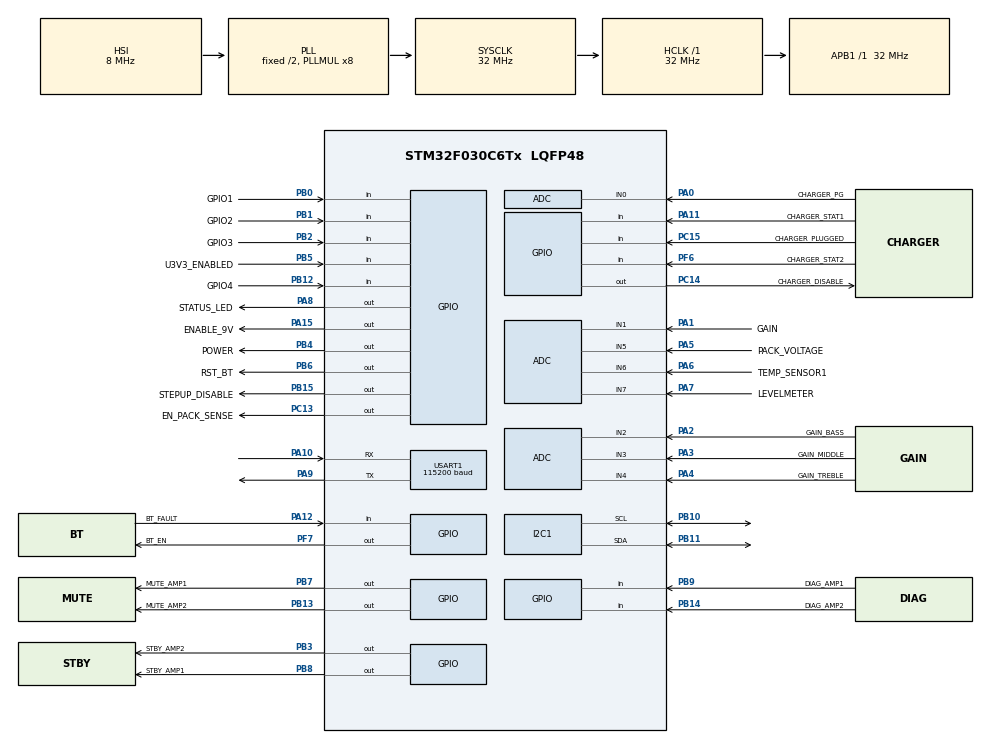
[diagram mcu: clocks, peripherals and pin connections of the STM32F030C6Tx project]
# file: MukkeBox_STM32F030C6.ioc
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ADC.ExternalTrigConv=ADC_EXTERNALTRIGCONV_T1_TRGO
ADC.SamplingTime=ADC_SAMPLETIME_71CYCLES_5
Dma.ADC.0.Direction=DMA_PERIPH_TO_MEMORY
Dma.ADC.0.Instance=DMA1_Channel1
Dma.ADC.0.MemDataAlignment=DMA_MDATAALIGN_HALFWORD
Dma.ADC.0.MemInc=DMA_MINC_ENABLE
Dma.ADC.0.Mode=DMA_NORMAL
Dma.ADC.0.PeriphDataAlignment=DMA_PDATAALIGN_HALFWORD
Dma.ADC.0.PeriphInc=DMA_PINC_DISABLE
Dma.ADC.0.Priority=DMA_PRIORITY_LOW
Dma.Request0=ADC
I2C1.Speed=40
I2C1.Timing=0x00103D84
Mcu.Family=STM32F0
Mcu.Name=STM32F030C6Tx
Mcu.Package=LQFP48
NVIC.DMA1_Channel1_IRQn=true\:0\:0\:false\:false\:true\:false\:true
PA0.GPIO_Label=CHARGER_PG
PA0.Mode=IN0
PA0.Signal=ADC_IN0
PA1.GPIO_Label=GAIN
PA1.Mode=IN1
PA1.Signal=ADC_IN1
PA10.Mode=Asynchronous
PA10.Signal=USART1_RX
PA11.GPIO_Label=CHARGER_STAT1
PA11.Signal=GPIO_Input
PA12.GPIO_Label=BT_FAULT
PA12.Signal=GPIO_Input
PA13.Mode=Serial_Wire
PA13.Signal=SYS_SWDIO
PA14.Mode=Serial_Wire
PA14.Signal=SYS_SWCLK
PA15.GPIO_Label=ENABLE_9V
PA15.Signal=GPIO_Output
PA2.GPIO_Label=GAIN_BASS
PA2.Mode=IN2
PA2.Signal=ADC_IN2
PA3.GPIO_Label=GAIN_MIDDLE
PA3.Mode=IN3
PA3.Signal=ADC_IN3
PA4.GPIO_Label=GAIN_TREBLE
PA4.Mode=IN4
PA4.Signal=ADC_IN4
PA5.GPIO_Label=PACK_VOLTAGE
PA5.Mode=IN5
PA5.Signal=ADC_IN5
PA6.GPIO_Label=TEMP_SENSOR1
PA6.Mode=IN6
PA6.Signal=ADC_IN6
PA7.GPIO_Label=LEVELMETER
PA7.Mode=IN7
PA7.Signal=ADC_IN7
PA8.GPIO_Label=STATUS_LED
PA8.Signal=GPIO_Output
PA9.Mode=Asynchronous
PA9.Signal=USART1_TX
PB0.GPIO_Label=GPIO1
PB0.Signal=GPIO_Input
PB1.GPIO_Label=GPIO2
PB1.Signal=GPIO_Input
PB10.Mode=I2C
PB10.Signal=I2C1_SCL
PB11.Mode=I2C
PB11.Signal=I2C1_SDA
PB12.GPIO_Label=GPIO4
PB12.Signal=GPIO_Input
PB13.GPIO_Label=MUTE_AMP2
PB13.Signal=GPIO_Output
PB14.GPIO_Label=DIAG_AMP2
PB14.Signal=GPIO_Input
PB15.GPIO_Label=STEPUP_DISABLE
PB15.Signal=GPIO_Output
PB2.GPIO_Label=GPIO3
PB2.Signal=GPIO_Input
PB3.GPIO_Label=STBY_AMP2
PB3.Signal=GPIO_Output
PB4.GPIO_Label=POWER
PB4.Signal=GPIO_Output
PB5.GPIO_Label=U3V3_ENABLED
PB5.Signal=GPIO_Input
PB6.GPIO_Label=RST_BT
PB6.Signal=GPIO_Output
PB7.GPIO_Label=MUTE_AMP1
PB7.Signal=GPIO_Output
PB8.GPIO_Label=STBY_AMP1
PB8.Signal=GPIO_Output
PB9.GPIO_Label=DIAG_AMP1
PB9.Signal=GPIO_Input
PC13.GPIO_Label=EN_PACK_SENSE
PC13.Signal=GPIO_Output
PC14-OSC32_IN.GPIO_Label=CHARGER_DISABLE
PC14-OSC32_IN.Signal=GPIO_Output
PC15-OSC32_OUT.GPIO_Label=CHARGER_PLUGGED
PC15-OSC32_OUT.Signal=GPIO_Input
PF0-OSC_IN.Mode=HSE-External-Oscillator
PF0-OSC_IN.Signal=RCC_OSC_IN
PF1-OSC_OUT.Mode=HSE-External-Oscillator
PF1-OSC_OUT.Signal=RCC_OSC_OUT
PF6.GPIO_Label=CHARGER_STAT2
PF6.Signal=GPIO_Input
PF7.GPIO_Label=BT_EN
PF7.Signal=GPIO_Output
ProjectManager.HeapSize=0x200
ProjectManager.StackSize=0x400
ProjectManager.TargetToolchain=STM32CubeIDE
RCC.AHBFreq_Value=32000000
RCC.APB1Freq_Value=32000000
RCC.APB1TimFreq_Value=32000000
RCC.HCLKFreq_Value=32000000
RCC.PLLMUL=RCC_PLL_MUL8
RCC.SYSCLKFreq_VALUE=32000000
RCC.SYSCLKSource=RCC_SYSCLKSOURCE_PLLCLK
RCC.Usart1ClockSelection=RCC_USART1CLKSOURCE_SYSCLK
TIM1.Period=100
TIM1.Prescaler=8000
TIM1.TIM_MasterOutputTrigger=TIM_TRGO_UPDATE
TIM1.TIM_MasterSlaveMode=TIM_MASTERSLAVEMODE_ENABLE
TIM3.AutoReloadPreload=TIM_AUTORELOAD_PRELOAD_ENABLE
TIM3.Period=999
TIM3.Prescaler=7999
TIM3.TIM_MasterOutputTrigger=TIM_TRGO_UPDATE
TIM3.TIM_MasterSlaveMode=TIM_MASTERSLAVEMODE_ENABLE
USART1.BaudRate=115200
USART1.VirtualMode-Asynchronous=VM_ASYNC
VP_TIM1_VS_ClockSourceINT.Mode=Internal
VP_TIM3_VS_ClockSourceINT.Mode=Internal
board=custom

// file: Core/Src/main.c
/* USER CODE BEGIN Header */
/**
  ******************************************************************************
  * @file           : main.c
  * @brief          : Main program body
  ******************************************************************************
  * @attention
  *
  * <h2><center>&copy; Copyright (c) 2020 STMicroelectronics.
  * All rights reserved.</center></h2>
  *
  * This software component is licensed by ST under BSD 3-Clause license,
  * the "License"; You may not use this file except in compliance with the
  * License. You may obtain a copy of the License at:
  *                        opensource.org/licenses/BSD-3-Clause
  *
  ******************************************************************************
  */
/* USER CODE END Header */

#include "main.h"

/* USER CODE BEGIN Includes */
#include "TDA7719.h"
#include "ssd1306.h"
//#include "string.h"
/* USER CODE END Includes */

/* USER CODE BEGIN PD */
#define DISPLAY 1
#define ADC_BUF_SIZE 6
/* USER CODE END PD */

ADC_HandleTypeDef hadc;
DMA_HandleTypeDef hdma_adc;

I2C_HandleTypeDef hi2c1;

TIM_HandleTypeDef htim1;
TIM_HandleTypeDef htim3;

UART_HandleTypeDef huart1;

/* USER CODE BEGIN PV */
static const uint8_t OLED_ADDR = 0x3C;	// SSD1306
static const uint8_t AUDIO_DSP = 0x44;	// TDA7719

uint16_t ADC_buffer[ADC_BUF_SIZE];
uint8_t adc_flag = 0;

uint8_t timer_flag = 0;

/* USER CODE END PV */

void SystemClock_Config(void);
static void MX_GPIO_Init(void);
static void MX_DMA_Init(void);
static void MX_ADC_Init(void);
static void MX_I2C1_Init(void);
static void MX_USART1_UART_Init(void);
static void MX_TIM1_Init(void);
static void MX_TIM3_Init(void);

/* USER CODE BEGIN 0 */

GPIO_PinState state_3v3 = GPIO_PIN_SET;
GPIO_PinState charger_plugged = GPIO_PIN_SET;
const int GAIN = 4;
const int BASS = 3;
const int MIDDLE = 2;
const int TREBLE = 1;
const int PACK = 5;
const int GAIN_STEPS = 4096/30;
const int GAIN_HYST = 30;
// Faktor aus Debug Wert, und Messung mit Multimeter bestimmt; Stimmt auf 10mV mit Fluke Multimeter überein
const double PACK_FAKTOR = 14.86 / 1698.0;
const double PACK_LOW = 14.0;
const double PACK_FULL = 16.6;
const double PACK_HYST = 0.1;
static int pack_sense = 0;
static int pack_val = 0;
static double pack_voltage_buf[5] = {0,0,0,0,0};
static int buf_index = 0;
static double pack_voltage = 0.0;
static int pack_low = 1;
static int pack_full = 0;
static int power_rise = 0;
static int dsp_delay = 0;
static int FAIL = 0;

static int old_gain=0, old_bass = 0, old_middle=0, old_treble=0;
static int gain = 0, bass = 0, middle = 0, treble = 0;

static int splash_sceen = 0;

static int write_bat = 0;

void write_screen(int bass, int middle, int treble, double battery){

#if DISPLAY == 1
	char s[7];
	int vorkomma = 0, nachkomma = 0;
	ssd1306_Fill(Black);
	ssd1306_SetCursor(0, 0);
	ssd1306_WriteString("GurkiBox   V03", Font_6x8, White);
	//bass
	if(state_3v3 == GPIO_PIN_RESET){
		ssd1306_SetCursor(0, 10);
		ssd1306_WriteString("Bass:", Font_6x8, White);
		ssd1306_SetCursor(64, 10);
		itoa((int16_t)(bass-15), s, 10);
		if(bass>15)ssd1306_WriteString("+", Font_6x8, White);
		ssd1306_WriteString(s, Font_6x8, White);
		ssd1306_WriteString("bB", Font_6x8, White);
		//Middle
		ssd1306_SetCursor(0, 20);
		ssd1306_WriteString("Middle:", Font_6x8, White);
		ssd1306_SetCursor(64, 20);
		itoa((int16_t)(middle-15), s, 10);
		if(middle>15)ssd1306_WriteString("+", Font_6x8, White);
		ssd1306_WriteString(s, Font_6x8, White);
		ssd1306_WriteString("bB", Font_6x8, White);
		// Treble
		ssd1306_SetCursor(0, 30);
		ssd1306_WriteString("Treble:", Font_6x8, White);
		ssd1306_SetCursor(64, 30);
		itoa((int16_t)(treble-15), s, 10);
		if(treble>15)ssd1306_WriteString("+", Font_6x8, White);
		ssd1306_WriteString(s, Font_6x8, White);
		ssd1306_WriteString("bB", Font_6x8, White);
	}
	// Battery
	vorkomma=(int)battery;
	nachkomma = (int)((battery-((double)vorkomma))*100);
	ssd1306_SetCursor(0, 40);
	ssd1306_WriteString("Akku:", Font_6x8, White);
	ssd1306_SetCursor(64, 40);
	itoa((int16_t)vorkomma, s, 10);
	ssd1306_WriteString(s, Font_6x8, White);
	ssd1306_WriteString(".", Font_6x8, White);
	itoa((int16_t)nachkomma, s, 10);
	ssd1306_WriteString(s, Font_6x8, White);
	ssd1306_WriteString("V", Font_6x8, White);

	if(charger_plugged == GPIO_PIN_RESET){
		uint8_t x = 110, y = 0;
		//Linker Ramen Akku
		ssd1306_Line(x,y,x,y+6, White);
		ssd1306_Line(x,y,x+3,y, White);
		ssd1306_Line(x,y+6,x+3,y+6, White);

		//Rechter Ramen Akku
		ssd1306_Line(x+9,y,x+11,y, White);
		ssd1306_Line(x+9,y+6,x+11,y+6, White);
		ssd1306_Line(x+11,y,x+11,y+6, White);
		ssd1306_Line(x+12,y+2,x+12,y+4, White);
		//Strom Symbol
		if(pack_full == 0){
			ssd1306_Line(x+6,y,x+4,y+2, White);
			ssd1306_Line(x+7,y+4,x+5,y+6, White);
			ssd1306_Line(x+4,y+3,x+7,y+3, White);
			ssd1306_DrawPixel(x+5,y+2,White);
			ssd1306_DrawPixel(x+6,y+4,White);
		}
		else{
			ssd1306_Line(x+2,y,x+9,y, White);
			ssd1306_Line(x+2,y+1,x+9,y+1, White);
			ssd1306_Line(x+2,y+2,x+9,y+2, White);
			ssd1306_Line(x+2,y+3,x+9,y+3, White);
			ssd1306_Line(x+2,y+4,x+9,y+4, White);
			ssd1306_Line(x+2,y+5,x+9,y+5, White);
			ssd1306_Line(x+2,y+6,x+9,y+6, White);
		}
	}

	ssd1306_UpdateScreen();
#endif
}

/* USER CODE END 0 */

int main(void)
{

  /* MCU Configuration--------------------------------------------------------*/

  /* Reset of all peripherals, Initializes the Flash interface and the Systick. */
  HAL_Init();

  /* Configure the system clock */
  SystemClock_Config();

  /* Initialize all configured peripherals */
  MX_GPIO_Init();
  MX_DMA_Init();
  MX_ADC_Init();
  MX_I2C1_Init();
  MX_USART1_UART_Init();
  MX_TIM1_Init();
  MX_TIM3_Init();
  /* USER CODE BEGIN 2 */
  if(HAL_OK != HAL_ADCEx_Calibration_Start(&hadc))
	  Error_Handler();

  if(HAL_ADC_Start_DMA(&hadc, &ADC_buffer, ADC_BUF_SIZE) != HAL_OK)
	  Error_Handler();

  if(HAL_OK != HAL_TIM_Base_Start(&htim1))
	  Error_Handler();
  if(HAL_OK != HAL_TIM_Base_Start(&htim3))
	  Error_Handler();

  /* USER CODE END 2 */

  /* Infinite loop */
  /* USER CODE BEGIN WHILE */

  // Endstufe initial deaktiviert
  HAL_GPIO_WritePin(MUTE_AMP1_GPIO_Port,MUTE_AMP1_Pin, GPIO_PIN_SET);
  HAL_GPIO_WritePin(STBY_AMP1_GPIO_Port,STBY_AMP1_Pin, GPIO_PIN_RESET);
  HAL_GPIO_WritePin(MUTE_AMP2_GPIO_Port,MUTE_AMP2_Pin, GPIO_PIN_SET);
  HAL_GPIO_WritePin(STBY_AMP2_GPIO_Port,STBY_AMP2_Pin, GPIO_PIN_RESET);
  //HAL_GPIO_WritePin(STEPUP_DISABLE_GPIO_Port, STEPUP_DISABLE_Pin, GPIO_PIN_SET);

  GPIO_PinState state;
  uint8_t test = 0;
  uint8_t adresses[5] = {0,0,0,0,0};

// I2C Scan
	HAL_StatusTypeDef result;
	int i = 0;
	for (i=1; i<128; i++)
	{

	   //the HAL wants a left aligned i2c address
	   //&hi2c1 is the handle
	   //(uint16_t)(i<<1) is the i2c address left aligned
	   //retries 2
	   //timeout 2

	  result = HAL_I2C_IsDeviceReady(&hi2c1, (uint16_t)(i<<1), 2, 2);
	  if (result != HAL_OK) // HAL_ERROR or HAL_BUSY or HAL_TIMEOUT
	  {
		  ;
	  }
	  if (result == HAL_OK)
	  {
		  adresses[test]= i;
		  test++;
	  }
	}

#if DISPLAY == 1
  	  ssd1306_Init();
  	  ssd1306_Fill(Black);
  	  ssd1306_SetCursor(0, 20);
  	  ssd1306_WriteString("Moin Digga!", Font_6x8, White);
  	  ssd1306_UpdateScreen();
#endif

  while (1)
  {
	  // Alles abschalten, wenn eine Endstufe in Störung geht. Fehler am Display anzeigen
	  if((HAL_GPIO_ReadPin(DIAG_AMP1_GPIO_Port, DIAG_AMP1_Pin) == GPIO_PIN_RESET) ||
			  (HAL_GPIO_ReadPin(DIAG_AMP2_GPIO_Port, DIAG_AMP2_Pin) == GPIO_PIN_RESET) ||
			  (HAL_GPIO_ReadPin(BT_FAULT_GPIO_Port, BT_FAULT_Pin) == GPIO_PIN_RESET)){
		  // Endstufen abschalten
		  HAL_GPIO_WritePin(MUTE_AMP1_GPIO_Port,MUTE_AMP1_Pin, GPIO_PIN_SET);
		  HAL_GPIO_WritePin(STBY_AMP1_GPIO_Port,STBY_AMP1_Pin, GPIO_PIN_RESET);
		  HAL_GPIO_WritePin(MUTE_AMP2_GPIO_Port,MUTE_AMP2_Pin, GPIO_PIN_SET);
		  HAL_GPIO_WritePin(STBY_AMP2_GPIO_Port,STBY_AMP2_Pin, GPIO_PIN_RESET);
		  // Power abschalten
		  HAL_GPIO_WritePin(POWER_GPIO_Port,POWER_Pin, GPIO_PIN_RESET);
		  HAL_GPIO_WritePin(ENABLE_9V_GPIO_Port,ENABLE_9V_Pin, GPIO_PIN_RESET);
		  HAL_GPIO_WritePin(BT_EN_GPIO_Port,BT_EN_Pin, GPIO_PIN_RESET);
#if DISPLAY == 1
			char s[7];
			int vorkomma = 0, nachkomma = 0;
			ssd1306_Fill(Black);
			ssd1306_SetCursor(0, 0);
			ssd1306_WriteString("GurkiBox   V03", Font_6x8, White);
			//bass
			if((HAL_GPIO_ReadPin(DIAG_AMP1_GPIO_Port, DIAG_AMP1_Pin) == GPIO_PIN_RESET)){
				ssd1306_SetCursor(0, 10);
				ssd1306_WriteString("Error Amp1", Font_6x8, White);
			}
			if((HAL_GPIO_ReadPin(DIAG_AMP2_GPIO_Port, DIAG_AMP2_Pin) == GPIO_PIN_RESET)){
				ssd1306_SetCursor(0, 10);
				ssd1306_WriteString("Error Amp2", Font_6x8, White);
			}
			if((HAL_GPIO_ReadPin(BT_FAULT_GPIO_Port, BT_FAULT_Pin) == GPIO_PIN_RESET)){
				ssd1306_SetCursor(0, 10);
				ssd1306_WriteString("Error ", Font_6x8, White);
				ssd1306_SetCursor(0, 20);
				ssd1306_WriteString("Bluetooth ", Font_6x8, White);
			}
			ssd1306_UpdateScreen();
#endif
		  while(1){
			  HAL_GPIO_WritePin(STATUS_LED_GPIO_Port, STATUS_LED_Pin, GPIO_PIN_SET);
			  ;
		  }
	  }

	  if(adc_flag == 1){
		  // Run LED
		  HAL_GPIO_TogglePin(STATUS_LED_GPIO_Port, STATUS_LED_Pin);

		  if(HAL_ADC_Start_DMA(&hadc, &ADC_buffer, ADC_BUF_SIZE) != HAL_OK)
			  Error_Handler();

		  if(HAL_OK != HAL_TIM_Base_Start(&htim1))
			  Error_Handler();
		  adc_flag = 0;
		  //TDA7719_begin(hi2c1);

		  // Überprüfen, ob Ladeadapter eingesteckt
		  charger_plugged = HAL_GPIO_ReadPin(CHARGER_PLUGGED_GPIO_Port, CHARGER_PLUGGED_Pin);

		  // Akku Spannung überwachen
		  if(HAL_GPIO_ReadPin(EN_PACK_SENSE_GPIO_Port,EN_PACK_SENSE_Pin) == GPIO_PIN_SET){
			  //1698 ~ 14,76V
			  pack_val = ADC_buffer[PACK];
			  // Ringpuffer
			  pack_voltage_buf[buf_index] = ((double)pack_val) * PACK_FAKTOR;
			  double rms = 0;
			  for(int i = 0; i<5; i++)rms+=pack_voltage_buf[i];
			  rms/=5.0;
			  pack_voltage = rms;
			  buf_index = buf_index == 4 ? 0 : buf_index +1;
		  }
		  pack_sense++;
		  HAL_GPIO_WritePin(EN_PACK_SENSE_GPIO_Port,EN_PACK_SENSE_Pin , ((pack_sense%10) == 0));
		  write_bat++;
#if DISPLAY == 1
		  if((write_bat % 1000)  == 0)
			  write_screen(bass, middle, treble, pack_voltage);
#endif

		  // Charger abschalten, wenn Spannung überschritten wird
		  pack_full = pack_voltage > (PACK_FULL + (PACK_HYST*2)) ? 1 : pack_voltage < (PACK_FULL - (PACK_HYST*2)) ? 0 : pack_full;
		  // TEST pack_full = pack_voltage > (15.0 + (PACK_HYST*2)) ? 1 : pack_voltage < 15.0 ? 0 : 0;
		  HAL_GPIO_WritePin(CHARGER_DISABLE_GPIO_Port,CHARGER_DISABLE_Pin , pack_full);

		  // Versorgungsspannung schalten
		  pack_low = (pack_voltage > (PACK_LOW + PACK_HYST)) ? 0 : (pack_voltage < PACK_LOW) ? 1 : pack_low;

		  state_3v3 = HAL_GPIO_ReadPin(U3V3_ENABLED_GPIO_Port, U3V3_ENABLED_Pin);
		  int power_on = (state_3v3 == GPIO_PIN_RESET) && (pack_low == 0);
		  HAL_GPIO_WritePin(POWER_GPIO_Port,POWER_Pin, power_on);

		  // Versorgungsspannung für Audio-DSP einschalten
		  HAL_GPIO_WritePin(ENABLE_9V_GPIO_Port,ENABLE_9V_Pin, power_on);
		  // Bluetooth Modul einschalten
		  HAL_GPIO_WritePin(BT_EN_GPIO_Port,BT_EN_Pin, power_on);

		  // DSP initialisieren
		  if(power_rise < HAL_GPIO_ReadPin(POWER_GPIO_Port,POWER_Pin)){
#if DISPLAY == 1
			  write_screen(bass, middle, treble, pack_voltage);
#endif
			  dsp_delay++;
		  }
		  dsp_delay = dsp_delay == 0 ? 0 : dsp_delay < 11 ? dsp_delay + 1 : dsp_delay;
		  if( dsp_delay == 10){
			  // 1s gewartet nach power up
			  // Endstufen einschalten
			  HAL_GPIO_WritePin(MUTE_AMP1_GPIO_Port,MUTE_AMP1_Pin, GPIO_PIN_RESET);
			  HAL_GPIO_WritePin(STBY_AMP1_GPIO_Port,STBY_AMP1_Pin, GPIO_PIN_SET);
			  HAL_GPIO_WritePin(MUTE_AMP2_GPIO_Port,MUTE_AMP2_Pin, GPIO_PIN_RESET);
			  HAL_GPIO_WritePin(STBY_AMP2_GPIO_Port,STBY_AMP2_Pin, GPIO_PIN_SET);
			  TDA7719_begin(hi2c1);
			  TDA7719_volume((int8_t)gain);
			  TDA7719_bass((int8_t)bass);
			  TDA7719_middle((int8_t)middle);
			  TDA7719_treble((int8_t)treble);

		  }
		  power_rise = HAL_GPIO_ReadPin(POWER_GPIO_Port,POWER_Pin);
		  if(power_rise == 0) dsp_delay = 0;

		  // Splash screen -  Moin Digga!
		  splash_sceen=splash_sceen <= 100 ? splash_sceen + 1 : splash_sceen;
		  if(splash_sceen== 100){
#if DISPLAY == 1
			  write_screen(bass, middle, treble, pack_voltage);
#endif
		  }

		  gain = ADC_buffer[GAIN]/GAIN_STEPS;
		  if(old_gain != gain && ((ADC_buffer[GAIN]%GAIN_STEPS) > GAIN_HYST) && (splash_sceen > 100)){
			  old_gain = gain;
			  TDA7719_volume((int8_t)gain);
#if DISPLAY == 1
			  write_screen(bass, middle, treble, pack_voltage);
#endif
		  }

		  bass = ADC_buffer[BASS]/GAIN_STEPS;
		  if(old_bass != bass && ((ADC_buffer[BASS]%GAIN_STEPS) > GAIN_HYST) && (splash_sceen > 100)){
			  old_bass = bass;
			  TDA7719_bass((int8_t)bass);
#if DISPLAY == 1
			  write_screen(bass, middle, treble, pack_voltage);
#endif
		  }

		  middle = ADC_buffer[MIDDLE]/GAIN_STEPS;
		  if(old_middle != middle && ((ADC_buffer[MIDDLE]%GAIN_STEPS) > GAIN_HYST) && (splash_sceen > 100)){
			  old_middle = middle;
			  TDA7719_middle((int8_t)middle);
#if DISPLAY == 1
			  write_screen(bass, middle, treble, pack_voltage);
#endif
		  }

		  treble = ADC_buffer[TREBLE]/GAIN_STEPS;
		  if(old_treble != treble && ((ADC_buffer[TREBLE]%GAIN_STEPS) > GAIN_HYST) && (splash_sceen > 100)){
			  old_treble = treble;
			  TDA7719_treble((int8_t)treble);
#if DISPLAY == 1
			  write_screen(bass, middle, treble, pack_voltage);
#endif
		  }

	  }

	  // Power Schalter lesen zum aktiven ausschalten
	  state = HAL_GPIO_ReadPin(POWER_GPIO_Port, POWER_Pin);
    /* USER CODE END WHILE */

  }
}

void SystemClock_Config(void)
{
  RCC_OscInitTypeDef RCC_OscInitStruct = {0};
  RCC_ClkInitTypeDef RCC_ClkInitStruct = {0};
  RCC_PeriphCLKInitTypeDef PeriphClkInit = {0};

  /** Initializes the CPU, AHB and APB busses clocks
  */
  RCC_OscInitStruct.OscillatorType = RCC_OSCILLATORTYPE_HSI|RCC_OSCILLATORTYPE_HSI14;
  RCC_OscInitStruct.HSIState = RCC_HSI_ON;
  RCC_OscInitStruct.HSI14State = RCC_HSI14_ON;
  RCC_OscInitStruct.HSICalibrationValue = RCC_HSICALIBRATION_DEFAULT;
  RCC_OscInitStruct.HSI14CalibrationValue = 16;
  RCC_OscInitStruct.PLL.PLLState = RCC_PLL_ON;
  RCC_OscInitStruct.PLL.PLLSource = RCC_PLLSOURCE_HSI;
  RCC_OscInitStruct.PLL.PLLMUL = RCC_PLL_MUL8;
  RCC_OscInitStruct.PLL.PREDIV = RCC_PREDIV_DIV1;
  if (HAL_RCC_OscConfig(&RCC_OscInitStruct) != HAL_OK)
  {
    Error_Handler();
  }
  /** Initializes the CPU, AHB and APB busses clocks
  */
  RCC_ClkInitStruct.ClockType = RCC_CLOCKTYPE_HCLK|RCC_CLOCKTYPE_SYSCLK
                              |RCC_CLOCKTYPE_PCLK1;
  RCC_ClkInitStruct.SYSCLKSource = RCC_SYSCLKSOURCE_PLLCLK;
  RCC_ClkInitStruct.AHBCLKDivider = RCC_SYSCLK_DIV1;
  RCC_ClkInitStruct.APB1CLKDivider = RCC_HCLK_DIV1;

  if (HAL_RCC_ClockConfig(&RCC_ClkInitStruct, FLASH_LATENCY_1) != HAL_OK)
  {
    Error_Handler();
  }
  PeriphClkInit.PeriphClockSelection = RCC_PERIPHCLK_USART1|RCC_PERIPHCLK_I2C1;
  PeriphClkInit.Usart1ClockSelection = RCC_USART1CLKSOURCE_SYSCLK;
  PeriphClkInit.I2c1ClockSelection = RCC_I2C1CLKSOURCE_HSI;
  if (HAL_RCCEx_PeriphCLKConfig(&PeriphClkInit) != HAL_OK)
  {
    Error_Handler();
  }
}

static void MX_ADC_Init(void)
{

  ADC_ChannelConfTypeDef sConfig = {0};

  /** Configure the global features of the ADC (Clock, Resolution, Data Alignment and number of conversion)
  */
  hadc.Instance = ADC1;
  hadc.Init.ClockPrescaler = ADC_CLOCK_ASYNC_DIV1;
  hadc.Init.Resolution = ADC_RESOLUTION_12B;
  hadc.Init.DataAlign = ADC_DATAALIGN_RIGHT;
  hadc.Init.ScanConvMode = ADC_SCAN_DIRECTION_FORWARD;
  hadc.Init.EOCSelection = ADC_EOC_SINGLE_CONV;
  hadc.Init.LowPowerAutoWait = DISABLE;
  hadc.Init.LowPowerAutoPowerOff = DISABLE;
  hadc.Init.ContinuousConvMode = DISABLE;
  hadc.Init.DiscontinuousConvMode = DISABLE;
  hadc.Init.ExternalTrigConv = ADC_EXTERNALTRIGCONV_T1_TRGO;
  hadc.Init.ExternalTrigConvEdge = ADC_EXTERNALTRIGCONVEDGE_RISING;
  hadc.Init.DMAContinuousRequests = DISABLE;
  hadc.Init.Overrun = ADC_OVR_DATA_PRESERVED;
  if (HAL_ADC_Init(&hadc) != HAL_OK)
  {
    Error_Handler();
  }
  /** Configure for the selected ADC regular channel to be converted.
  */
  sConfig.Channel = ADC_CHANNEL_0;
  sConfig.Rank = ADC_RANK_CHANNEL_NUMBER;
  sConfig.SamplingTime = ADC_SAMPLETIME_71CYCLES_5;
  if (HAL_ADC_ConfigChannel(&hadc, &sConfig) != HAL_OK)
  {
    Error_Handler();
  }
  /** Configure for the selected ADC regular channel to be converted.
  */
  sConfig.Channel = ADC_CHANNEL_1;
  if (HAL_ADC_ConfigChannel(&hadc, &sConfig) != HAL_OK)
  {
    Error_Handler();
  }
  /** Configure for the selected ADC regular channel to be converted.
  */
  sConfig.Channel = ADC_CHANNEL_2;
  if (HAL_ADC_ConfigChannel(&hadc, &sConfig) != HAL_OK)
  {
    Error_Handler();
  }
  /** Configure for the selected ADC regular channel to be converted.
  */
  sConfig.Channel = ADC_CHANNEL_3;
  if (HAL_ADC_ConfigChannel(&hadc, &sConfig) != HAL_OK)
  {
    Error_Handler();
  }
  /** Configure for the selected ADC regular channel to be converted.
  */
  sConfig.Channel = ADC_CHANNEL_4;
  if (HAL_ADC_ConfigChannel(&hadc, &sConfig) != HAL_OK)
  {
    Error_Handler();
  }
  /** Configure for the selected ADC regular channel to be converted.
  */
  sConfig.Channel = ADC_CHANNEL_5;
  if (HAL_ADC_ConfigChannel(&hadc, &sConfig) != HAL_OK)
  {
    Error_Handler();
  }
  /** Configure for the selected ADC regular channel to be converted.
  */
  sConfig.Channel = ADC_CHANNEL_6;
  if (HAL_ADC_ConfigChannel(&hadc, &sConfig) != HAL_OK)
  {
    Error_Handler();
  }
  /** Configure for the selected ADC regular channel to be converted.
  */
  sConfig.Channel = ADC_CHANNEL_7;
  if (HAL_ADC_ConfigChannel(&hadc, &sConfig) != HAL_OK)
  {
    Error_Handler();
  }

}

static void MX_I2C1_Init(void)
{

  hi2c1.Instance = I2C1;
  hi2c1.Init.Timing = 0x00103D84;
  hi2c1.Init.OwnAddress1 = 0;
  hi2c1.Init.AddressingMode = I2C_ADDRESSINGMODE_7BIT;
  hi2c1.Init.DualAddressMode = I2C_DUALADDRESS_DISABLE;
  hi2c1.Init.OwnAddress2 = 0;
  hi2c1.Init.OwnAddress2Masks = I2C_OA2_NOMASK;
  hi2c1.Init.GeneralCallMode = I2C_GENERALCALL_DISABLE;
  hi2c1.Init.NoStretchMode = I2C_NOSTRETCH_DISABLE;
  if (HAL_I2C_Init(&hi2c1) != HAL_OK)
  {
    Error_Handler();
  }
  /** Configure Analogue filter
  */
  if (HAL_I2CEx_ConfigAnalogFilter(&hi2c1, I2C_ANALOGFILTER_ENABLE) != HAL_OK)
  {
    Error_Handler();
  }
  /** Configure Digital filter
  */
  if (HAL_I2CEx_ConfigDigitalFilter(&hi2c1, 0) != HAL_OK)
  {
    Error_Handler();
  }

}

static void MX_TIM1_Init(void)
{

  TIM_ClockConfigTypeDef sClockSourceConfig = {0};
  TIM_MasterConfigTypeDef sMasterConfig = {0};

  htim1.Instance = TIM1;
  htim1.Init.Prescaler = 8000;
  htim1.Init.CounterMode = TIM_COUNTERMODE_UP;
  htim1.Init.Period = 100;
  htim1.Init.ClockDivision = TIM_CLOCKDIVISION_DIV1;
  htim1.Init.RepetitionCounter = 0;
  htim1.Init.AutoReloadPreload = TIM_AUTORELOAD_PRELOAD_DISABLE;
  if (HAL_TIM_Base_Init(&htim1) != HAL_OK)
  {
    Error_Handler();
  }
  sClockSourceConfig.ClockSource = TIM_CLOCKSOURCE_INTERNAL;
  if (HAL_TIM_ConfigClockSource(&htim1, &sClockSourceConfig) != HAL_OK)
  {
    Error_Handler();
  }
  sMasterConfig.MasterOutputTrigger = TIM_TRGO_UPDATE;
  sMasterConfig.MasterSlaveMode = TIM_MASTERSLAVEMODE_ENABLE;
  if (HAL_TIMEx_MasterConfigSynchronization(&htim1, &sMasterConfig) != HAL_OK)
  {
    Error_Handler();
  }

}

static void MX_TIM3_Init(void)
{

  TIM_ClockConfigTypeDef sClockSourceConfig = {0};
  TIM_MasterConfigTypeDef sMasterConfig = {0};

  htim3.Instance = TIM3;
  htim3.Init.Prescaler = 7999;
  htim3.Init.CounterMode = TIM_COUNTERMODE_UP;
  htim3.Init.Period = 999;
  htim3.Init.ClockDivision = TIM_CLOCKDIVISION_DIV1;
  htim3.Init.AutoReloadPreload = TIM_AUTORELOAD_PRELOAD_ENABLE;
  if (HAL_TIM_Base_Init(&htim3) != HAL_OK)
  {
    Error_Handler();
  }
  sClockSourceConfig.ClockSource = TIM_CLOCKSOURCE_INTERNAL;
  if (HAL_TIM_ConfigClockSource(&htim3, &sClockSourceConfig) != HAL_OK)
  {
    Error_Handler();
  }
  sMasterConfig.MasterOutputTrigger = TIM_TRGO_UPDATE;
  sMasterConfig.MasterSlaveMode = TIM_MASTERSLAVEMODE_ENABLE;
  if (HAL_TIMEx_MasterConfigSynchronization(&htim3, &sMasterConfig) != HAL_OK)
  {
    Error_Handler();
  }

}

static void MX_USART1_UART_Init(void)
{

  huart1.Instance = USART1;
  huart1.Init.BaudRate = 115200;
  huart1.Init.WordLength = UART_WORDLENGTH_8B;
  huart1.Init.StopBits = UART_STOPBITS_1;
  huart1.Init.Parity = UART_PARITY_NONE;
  huart1.Init.Mode = UART_MODE_TX_RX;
  huart1.Init.HwFlowCtl = UART_HWCONTROL_NONE;
  huart1.Init.OverSampling = UART_OVERSAMPLING_16;
  huart1.Init.OneBitSampling = UART_ONE_BIT_SAMPLE_DISABLE;
  huart1.AdvancedInit.AdvFeatureInit = UART_ADVFEATURE_NO_INIT;
  if (HAL_UART_Init(&huart1) != HAL_OK)
  {
    Error_Handler();
  }

}

static void MX_DMA_Init(void)
{

  /* DMA controller clock enable */
  __HAL_RCC_DMA1_CLK_ENABLE();

  /* DMA interrupt init */
  /* DMA1_Channel1_IRQn interrupt configuration */
  HAL_NVIC_SetPriority(DMA1_Channel1_IRQn, 0, 0);
  HAL_NVIC_EnableIRQ(DMA1_Channel1_IRQn);

}

static void MX_GPIO_Init(void)
{
  GPIO_InitTypeDef GPIO_InitStruct = {0};

  /* GPIO Ports Clock Enable */
  __HAL_RCC_GPIOC_CLK_ENABLE();
  __HAL_RCC_GPIOF_CLK_ENABLE();
  __HAL_RCC_GPIOA_CLK_ENABLE();
  __HAL_RCC_GPIOB_CLK_ENABLE();

  /*Configure GPIO pin Output Level */
  HAL_GPIO_WritePin(GPIOC, EN_PACK_SENSE_Pin|CHARGER_DISABLE_Pin, GPIO_PIN_RESET);

  /*Configure GPIO pin Output Level */
  HAL_GPIO_WritePin(GPIOB, MUTE_AMP2_Pin|STEPUP_DISABLE_Pin|STBY_AMP2_Pin|POWER_Pin
                          |RST_BT_Pin|MUTE_AMP1_Pin|STBY_AMP1_Pin, GPIO_PIN_RESET);

  /*Configure GPIO pin Output Level */
  HAL_GPIO_WritePin(GPIOA, STATUS_LED_Pin|ENABLE_9V_Pin, GPIO_PIN_RESET);

  /*Configure GPIO pin Output Level */
  HAL_GPIO_WritePin(BT_EN_GPIO_Port, BT_EN_Pin, GPIO_PIN_RESET);

  /*Configure GPIO pins : EN_PACK_SENSE_Pin CHARGER_DISABLE_Pin */
  GPIO_InitStruct.Pin = EN_PACK_SENSE_Pin|CHARGER_DISABLE_Pin;
  GPIO_InitStruct.Mode = GPIO_MODE_OUTPUT_PP;
  GPIO_InitStruct.Pull = GPIO_NOPULL;
  GPIO_InitStruct.Speed = GPIO_SPEED_FREQ_LOW;
  HAL_GPIO_Init(GPIOC, &GPIO_InitStruct);

  /*Configure GPIO pin : CHARGER_PLUGGED_Pin */
  GPIO_InitStruct.Pin = CHARGER_PLUGGED_Pin;
  GPIO_InitStruct.Mode = GPIO_MODE_INPUT;
  GPIO_InitStruct.Pull = GPIO_NOPULL;
  HAL_GPIO_Init(CHARGER_PLUGGED_GPIO_Port, &GPIO_InitStruct);

  /*Configure GPIO pins : GPIO1_Pin GPIO2_Pin GPIO3_Pin GPIO4_Pin
                           DIAG_AMP2_Pin U3V3_ENABLED_Pin DIAG_AMP1_Pin */
  GPIO_InitStruct.Pin = GPIO1_Pin|GPIO2_Pin|GPIO3_Pin|GPIO4_Pin
                          |DIAG_AMP2_Pin|U3V3_ENABLED_Pin|DIAG_AMP1_Pin;
  GPIO_InitStruct.Mode = GPIO_MODE_INPUT;
  GPIO_InitStruct.Pull = GPIO_NOPULL;
  HAL_GPIO_Init(GPIOB, &GPIO_InitStruct);

  /*Configure GPIO pins : MUTE_AMP2_Pin STEPUP_DISABLE_Pin STBY_AMP2_Pin POWER_Pin
                           RST_BT_Pin MUTE_AMP1_Pin STBY_AMP1_Pin */
  GPIO_InitStruct.Pin = MUTE_AMP2_Pin|STEPUP_DISABLE_Pin|STBY_AMP2_Pin|POWER_Pin
                          |RST_BT_Pin|MUTE_AMP1_Pin|STBY_AMP1_Pin;
  GPIO_InitStruct.Mode = GPIO_MODE_OUTPUT_PP;
  GPIO_InitStruct.Pull = GPIO_NOPULL;
  GPIO_InitStruct.Speed = GPIO_SPEED_FREQ_LOW;
  HAL_GPIO_Init(GPIOB, &GPIO_InitStruct);

  /*Configure GPIO pins : STATUS_LED_Pin ENABLE_9V_Pin */
  GPIO_InitStruct.Pin = STATUS_LED_Pin|ENABLE_9V_Pin;
  GPIO_InitStruct.Mode = GPIO_MODE_OUTPUT_PP;
  GPIO_InitStruct.Pull = GPIO_NOPULL;
  GPIO_InitStruct.Speed = GPIO_SPEED_FREQ_LOW;
  HAL_GPIO_Init(GPIOA, &GPIO_InitStruct);

  /*Configure GPIO pins : CHARGER_STAT1_Pin BT_FAULT_Pin */
  GPIO_InitStruct.Pin = CHARGER_STAT1_Pin|BT_FAULT_Pin;
  GPIO_InitStruct.Mode = GPIO_MODE_INPUT;
  GPIO_InitStruct.Pull = GPIO_NOPULL;
  HAL_GPIO_Init(GPIOA, &GPIO_InitStruct);

  /*Configure GPIO pin : CHARGER_STAT2_Pin */
  GPIO_InitStruct.Pin = CHARGER_STAT2_Pin;
  GPIO_InitStruct.Mode = GPIO_MODE_INPUT;
  GPIO_InitStruct.Pull = GPIO_NOPULL;
  HAL_GPIO_Init(CHARGER_STAT2_GPIO_Port, &GPIO_InitStruct);

  /*Configure GPIO pin : BT_EN_Pin */
  GPIO_InitStruct.Pin = BT_EN_Pin;
  GPIO_InitStruct.Mode = GPIO_MODE_OUTPUT_PP;
  GPIO_InitStruct.Pull = GPIO_NOPULL;
  GPIO_InitStruct.Speed = GPIO_SPEED_FREQ_LOW;
  HAL_GPIO_Init(BT_EN_GPIO_Port, &GPIO_InitStruct);

}

/* USER CODE BEGIN 4 */
void HAL_ADC_ConvCpltCallback(ADC_HandleTypeDef* hadc){

  if(HAL_OK != HAL_TIM_Base_Start(&htim1))
	  Error_Handler();
	adc_flag = 1;
}

void HAL_TIM_PeriodElapsedCallback(TIM_HandleTypeDef *htim){
	if (htim->Channel == HAL_TIM_ACTIVE_CHANNEL_3) {
		timer_flag = 1;
	}
}

/* USER CODE END 4 */

void Error_Handler()
{
}

/************************ (C) COPYRIGHT STMicroelectronics *****END OF FILE****/
